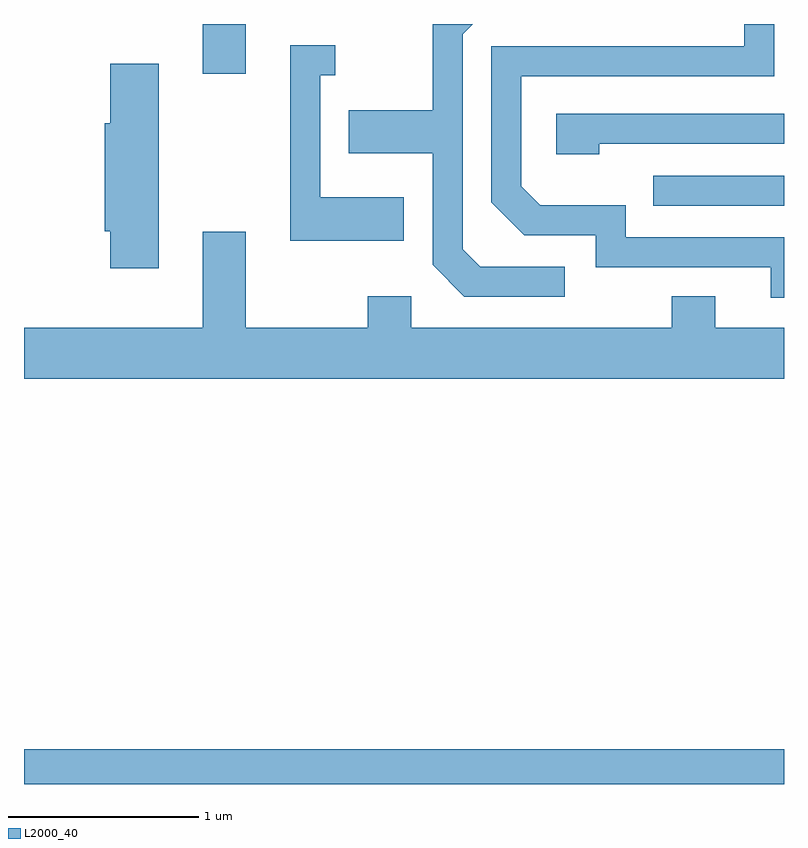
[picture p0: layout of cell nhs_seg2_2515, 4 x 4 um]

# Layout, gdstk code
import gdstk
lib = gdstk.Library(unit=1e-6, precision=1e-09)
def R(c, l, rs):  # rectangles x0, y0, x1, y1
    for r in rs: c.add(gdstk.rectangle(r[:2], r[2:], *l))
def P(c, l, *ps):  # polygons
    for p in ps: c.add(gdstk.Polygon(p, *l))
L2000_40 = (2000, 40)

nhs_seg2_2515 = lib.new_cell('nhs_seg2_2515')
R(nhs_seg2_2515, L2000_40, [(259.611,981.802,263.611,981.984), (262.923,984.846,263.611,985.004), (260.551,985.541,260.779,985.802)])
P(nhs_seg2_2515, L2000_40, [(263.611,984.679),(262.779,984.679),(262.779,984.849),(262.327,984.849),(262.229,984.947),(262.229,985.526),(263.559,985.526),(263.559,985.802),(263.401,985.802),(263.401,985.684),(262.071,985.684),(262.071,984.864),(262.244,984.691),(262.621,984.691),(262.621,984.521),(263.541,984.521),(263.541,984.361),(263.611,984.361)],
  [(262.458,984.524),(262.012,984.524),(261.919,984.617),(261.919,985.749),(261.973,985.802),(261.761,985.802),(261.761,985.349),(261.321,985.349),(261.321,985.121),(261.761,985.121),(261.761,984.534),(261.929,984.366),(262.458,984.366)],
  [(261.609,984.889),(261.169,984.889),(261.169,985.531),(261.248,985.531),(261.248,985.689),(261.011,985.689),(261.011,984.661),(261.609,984.661)],
  [(260.319,985.594),(260.066,985.594),(260.066,985.279),(260.036,985.279),(260.036,984.711),(260.066,984.711),(260.066,984.516),(260.319,984.516)],
  [(262.639,985.171),(263.611,985.171),(263.611,985.329),(262.411,985.329),(262.411,985.116),(262.639,985.116)],
  [(263.611,984.204),(263.249,984.204),(263.249,984.369),(263.021,984.369),(263.021,984.204),(261.649,984.204),(261.649,984.369),(261.421,984.369),(261.421,984.204),(260.779,984.204),(260.779,984.709),(260.551,984.709),(260.551,984.204),(259.611,984.204),(259.611,983.936),(263.611,983.936)])

lib.write_gds('nhs_seg2_2515.gds')
